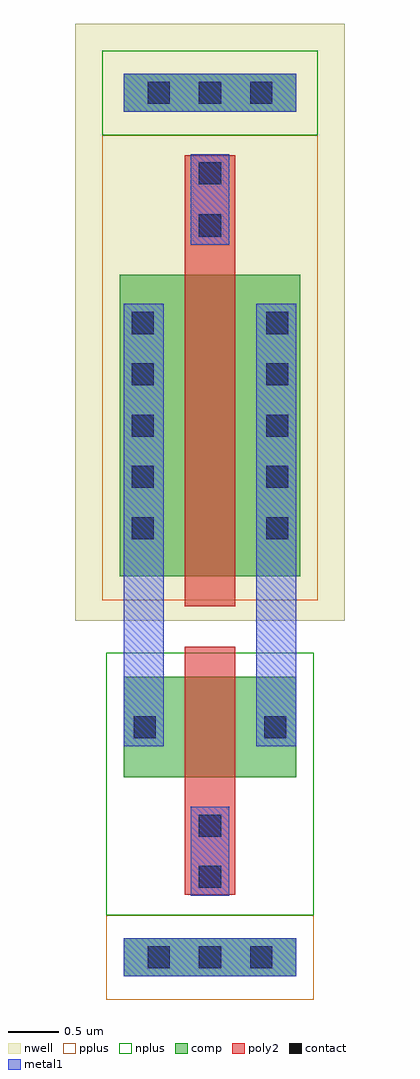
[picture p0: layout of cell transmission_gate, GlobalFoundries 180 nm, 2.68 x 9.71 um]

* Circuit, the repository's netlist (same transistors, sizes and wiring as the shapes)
* Extracted by KLayout with GF180MCU LVS runset on : 01/09/2026 11:05

.SUBCKT transmission_gate SUB
M$1 \$6 \$2 \$7 \$4 pfet_03v3 L=0.5U W=3U AS=1.95P AD=1.95P PS=7.3U PD=7.3U
M$2 \$6 \$1 \$7 SUB nfet_03v3 L=0.5U W=1U AS=0.61P AD=0.61P PS=3.22U PD=3.22U
.ENDS transmission_gate

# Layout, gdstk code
import gdstk
lib = gdstk.Library(unit=1e-6, precision=5e-09)
def R(c, l, rs):  # rectangles x0, y0, x1, y1
    for r in rs: c.add(gdstk.rectangle(r[:2], r[2:], *l))
def A(c, l, x, y, w, h, nx, ny, dx, dy):  # array of equal rectangles
    R(c, l, [(x+i*dx, y+j*dy, x+i*dx+w, y+j*dy+h) for i in range(nx) for j in range(ny)])
nwell = (21, 0)
comp = (22, 0)
poly2 = (30, 0)
pplus = (31, 0)
nplus = (32, 0)
contact = (33, 0)
metal1 = (34, 0)

nfet = lib.new_cell('nfet')
R(nfet, comp, [(-0.42,0,0,1), (0,0,0.88,1), (0.88,0,1.3,1)])
R(nfet, poly2, [(0.19,-0.66,0.69,-0.3), (0.19,-0.3,0.69,1.3)])
R(nfet, nplus, [(-0.59,-0.24,1.47,1.24)])
R(nfet, contact, [(0.33,-0.59,0.55,-0.37), (-0.32,0.39,-0.1,0.61), (0.98,0.39,1.2,0.61)])
R(nfet, metal1, [(0.25,-0.67,0.63,-0.29), (-0.4,0.31,-0.02,0.69), (0.9,0.31,1.28,0.69)])

pfet = lib.new_cell('pfet')
R(pfet, nwell, [(-0.9,-0.44,1.78,3.44)])
R(pfet, comp, [(-0.46,0,0,3), (0,0,0.88,3), (0.88,0,1.34,3)])
R(pfet, poly2, [(0.19,-0.3,0.69,3.3), (0.19,3.3,0.69,3.68)])
R(pfet, pplus, [(-0.63,-0.24,1.51,3.24)])
A(pfet, contact, -0.34, 0.37, 0.22, 0.22, 1, 5, 0, 0.51)
A(pfet, contact, 1, 0.37, 0.22, 0.22, 1, 5, 0, 0.51)
R(pfet, contact, [(0.33,3.38,0.55,3.6)])
R(pfet, metal1, [(-0.42,0.29,-0.04,2.71), (0.92,0.29,1.3,2.71), (0.25,3.3,0.63,3.68)])

transmission_gate = lib.new_cell('transmission_gate')
R(transmission_gate, nwell, [(4.07,9.44,6.75,11.5)])
R(transmission_gate, poly2, [(5.16,2.83,5.66,3.34), (5.16,9.68,5.66,10.19)])
R(transmission_gate, pplus, [(4.34,9.24,6.48,10.39)])
R(transmission_gate, nplus, [(4.38,2.63,6.44,3.76)])
A(transmission_gate, contact, 4.79, 2.1, 0.22, 0.22, 3, 2, 0.51, 8.6)
R(transmission_gate, contact, [(5.3,2.9,5.52,3.12), (5.3,9.9,5.52,10.12)])
R(transmission_gate, metal1, [(5.22,2.82,5.6,3.71), (4.55,4.31,4.95,8.71), (5.87,4.31,6.27,8.71), (5.22,9.31,5.6,10.2)])
transmission_gate.add(gdstk.FlexPath([(4.55,2.21),(6.27,2.21)], 0.38, ends="flush", simple_path=True, layer=34, datatype=0))  # metal1
transmission_gate.add(gdstk.FlexPath([(4.55,10.81),(6.27,10.81)], 0.38, ends="flush", simple_path=True, layer=34, datatype=0))  # metal1
transmission_gate.add(gdstk.FlexPath([(6.27,2.21),(4.55,2.21)], 0.38, ends="flush", simple_path=True, layer=22, datatype=0))  # comp
transmission_gate.add(gdstk.FlexPath([(6.27,10.81),(4.55,10.81)], 0.38, ends="flush", simple_path=True, layer=22, datatype=0))  # comp
transmission_gate.add(gdstk.FlexPath([(4.38,2.21),(6.44,2.21)], 0.84, ends="flush", simple_path=True, layer=31, datatype=0))  # pplus
transmission_gate.add(gdstk.FlexPath([(4.34,10.81),(6.48,10.81)], 0.84, ends="flush", simple_path=True, layer=32, datatype=0))  # nplus
transmission_gate.add(gdstk.Reference(nfet, (4.97,4)))
transmission_gate.add(gdstk.Reference(pfet, (4.97,6)))

lib.write_gds('transmission_gate.gds')
